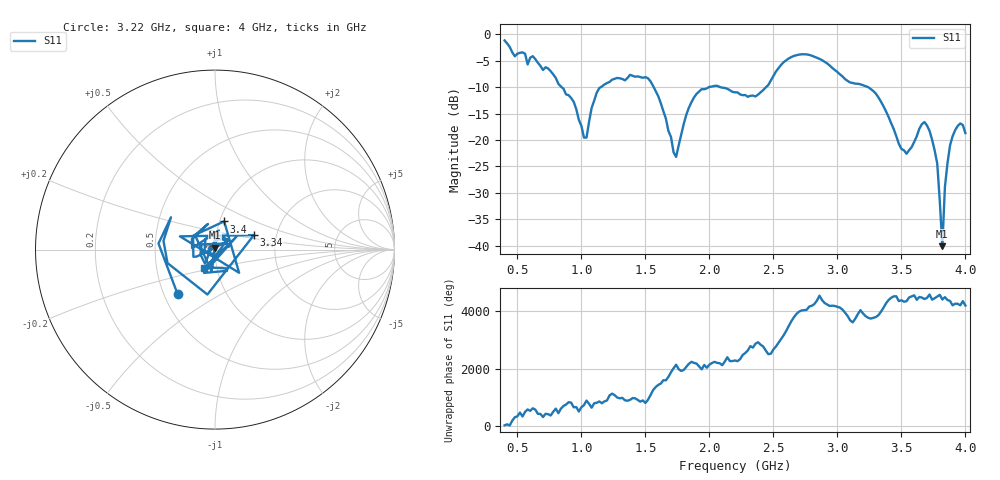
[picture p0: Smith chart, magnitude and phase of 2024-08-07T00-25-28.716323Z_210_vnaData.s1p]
!Created with skrf (http://scikit-rf.org).
# Hz S RI R 50.0
!freq ReS11 ImS11
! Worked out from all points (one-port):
!   181 points, 400 MHz to 4 GHz, reference 50 ohm
!   lowest |S11| = -40.1 dB at 3.82 GHz (marker M1), VSWR 1.02, Z = 50 + j0.992 ohm
!   |S11| at or under -10 dB: 1.565 GHz to 1.996 GHz (431 MHz wide, 24.2 % of centre); 2.086 GHz to 2.442 GHz (356.5 MHz wide, 15.7 % of centre); 3.241 GHz to end of sweep (the widest 3 of 4)
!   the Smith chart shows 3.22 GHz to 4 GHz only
!   S11 on the Smith chart (normalised r, x): 3.22 GHz: 0.59, -0.33; 3.34 GHz: 1.53, +0.26; 3.4 GHz: 1.05, +0.34; 4 GHz: 0.87, -0.18
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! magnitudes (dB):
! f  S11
! 400 MHz  -1.2
! 860 MHz  -10.3
! 1.04 GHz  -19.5
! 1.08 GHz  -13.9
! 1.14 GHz  -10.2
! 1.3 GHz  -8.3
! 1.52 GHz  -8.3
! 1.62 GHz  -13.0
! 1.72 GHz  -22.3
! 1.76 GHz  -21.0
! 1.9 GHz  -11.3
! 2.2 GHz  -11.0
! 2.36 GHz  -11.8
! 2.66 GHz  -4.1
! 3.1 GHz  -9.1
! 3.22 GHz  -9.8
! 3.34 GHz  -12.7
! 3.4 GHz  -15.6
! 3.5 GHz  -21.7
! 3.56 GHz  -21.9
! 3.66 GHz  -17.0
! 3.72 GHz  -18.3
! 3.78 GHz  -24.4
! 3.82 GHz  -40.1
! 3.84 GHz  -28.9
! 3.88 GHz  -21.0
! 3.96 GHz  -16.9
! 4 GHz  -18.7
